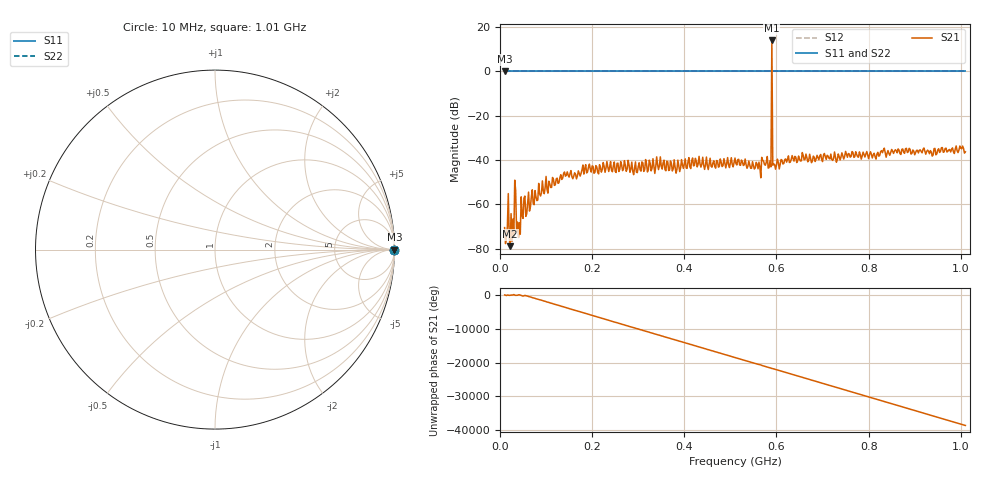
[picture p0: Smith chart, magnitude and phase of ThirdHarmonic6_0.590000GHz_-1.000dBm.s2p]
! 8/15/2025 7:09:37 PM
! C:\ANRITSUVNA\TEMP\TEMP.S2P
! CHANNEL.1
! TR.MEASUREMENT
! RAW.DATA
! RF.CORRECTION.OFF
! AVERAGING.OFF
! IF.BANDWIDTH: 5KHZ
! SWEEPTYPE:  FREQ.SWEEP(Linear)
! Reference Plane Port Info
! PORT:  PORT1  PORT2
! DISTANCE:  0  m  0  m
! TIME:  0  s  0  s
! PHASE.OFFSET:  0  deg.  0  deg.
! LOSS:  0  dB  0  dB
! REF.LOSS:  0  dB  0  dB
! REF.FREQ:  0  Hz  0  Hz
! Power Info
! POWER:  -20  dBm  -20  dBm
! EFF.POWER:  -20  dBm  -20  dBm
! SOURCE.ATTEN:  0  dB  0  dB
! TEST.ATTEN:  0  dB  0  dB
# GHZ S RI R 50.0
! FREQ.GHZ  S11RE  S11IM  S21RE  S21IM  S12RE  S12IM  S22RE  S22IM
!; PortSelection: Port_12
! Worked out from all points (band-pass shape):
!   501 points, 10 MHz to 1.01 GHz, reference 50 ohm
!   highest |S21| = 13.82 dB at 590 MHz (marker M1); lowest = -78.8 dB at 22 MHz (marker M2)
!   |S21| within 3 dB of the highest: 589.8945 MHz to 590.1068 MHz (212.3 kHz wide, 0.036 % of centre)
!   lowest |S11| = 0.0 dB at 10 MHz (marker M3)
!   |S11| at or under -10 dB: nowhere
!   |S22| runs from 0.0 to 0.0 dB; largest |S21 - S12| = 5.9
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0.01  1 0  0.000115 -0.000279  1 0  1 0
0.022  1 0  -0.000111 -3.26e-05  1 0  1 0
0.026  1 0  -5.65e-05 -0.000137  1 0  1 0
0.028  1 0  0.000147 -0.000448  1 0  1 0
0.032  1 0  -0.000121 -0.00352  1 0  1 0
0.036  1 0  -0.000245 -4.92e-05  1 0  1 0
0.04  1 0  0.000152 -9.62e-05  1 0  1 0
0.05  1 0  0.000452 -0.000176  1 0  1 0
0.06  1 0  0.00085 -0.000703  1 0  1 0
0.096  1 0  0.000203 -0.00174  1 0  1 0
0.178  1 0  -0.00581 -0.00159  1 0  1 0
0.344  1 0  0.0061 0.000269  1 0  1 0
0.386  1 0  -0.00569 0.00816  1 0  1 0
0.51  1 0  -0.0111 -0.000539  1 0  1 0
0.584  1 0  -0.00225 0.00634  1 0  1 0
0.586  1 0  0.00757 0.00594  1 0  1 0
0.59  1 0  -4.687 -1.464  1 0  1 0
0.594  1 0  0.00177 0.00795  1 0  1 0
0.596  1 0  0.00737 -0.00289  1 0  1 0
0.678  1 0  0.00611 -0.00737  1 0  1 0
0.844  1 0  -0.00557 0.0129  1 0  1 0
1.01  1 0  0.00764 -0.0133  1 0  1 0
